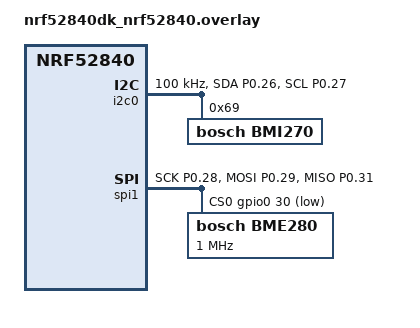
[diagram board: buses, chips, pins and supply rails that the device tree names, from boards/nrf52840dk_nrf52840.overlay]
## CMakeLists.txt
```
# SPDX-License-Identifier: Apache-2.0

cmake_minimum_required(VERSION 3.20.0)

find_package(Zephyr REQUIRED HINTS $ENV{ZEPHYR_BASE})
project(mycaf_sensor)

target_sources(app PRIVATE src/main.c)

# Add include directory for board specific CAF def files
zephyr_include_directories(
    ${CMAKE_CURRENT_SOURCE_DIR}/configuration  # 添加绝对路径
)

add_subdirectory(src/modules)
```

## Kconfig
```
menu "Sensor manager sample"
rsource "src/modules/Kconfig"
endmenu

menu "Zephyr Kernel"
source "Kconfig.zephyr"
endmenu
```

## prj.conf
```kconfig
#
# Copyright (c) 2022 Nordic Semiconductor ASA
#
# SPDX-License-Identifier: LicenseRef-Nordic-5-Clause
#
# CAF & Sensor Manager
CONFIG_CAF=y
CONFIG_CAF_INIT_LOG_SENSOR_EVENTS=n
CONFIG_CAF_SENSOR_DATA_AGGREGATOR=y
CONFIG_CAF_SENSOR_MANAGER=y

CONFIG_APP_EVENT_MANAGER=y
CONFIG_REBOOT=y
CONFIG_HEAP_MEM_POOL_SIZE=16384

CONFIG_ASSERT=y
CONFIG_RESET_ON_FATAL_ERROR=y

CONFIG_GPIO=y
CONFIG_SENSOR=y
CONFIG_SPI=y

# Display & SSD1306
CONFIG_DISPLAY=y
CONFIG_I2C=y
CONFIG_SSD1306=y
CONFIG_DISPLAY_LOG_LEVEL_DBG=y

# Character Framebuffer (如需用 cfb 库)
CONFIG_CHARACTER_FRAMEBUFFER=y
CONFIG_CFB_LOG_LEVEL_DBG=y

# Console/Log
CONFIG_STDOUT_CONSOLE=y
CONFIG_LOG=y
CONFIG_LOG_MODE_DEFERRED=y
```

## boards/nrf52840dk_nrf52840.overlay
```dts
/*
 * Copyright (c) 2022 Nordic Semiconductor ASA
 *
 * SPDX-License-Identifier: LicenseRef-Nordic-5-Clause
 */
/ {

    agg0: agg0 {
        compatible = "caf,aggregator";
        sensor_descr = "bmi270_accel";
        buf_data_length = <240>;
        sample_size = <3>;
        status = "okay";
    };

    agg1: agg1 {
        compatible = "caf,aggregator";
        sensor_descr = "bme280_env";
        buf_data_length = <240>;
        sample_size = <3>;
        status = "okay";
    };

};


&i2c0 {
    compatible = "nordic,nrf-twim";
    status = "okay";
    clock-frequency = <I2C_BITRATE_STANDARD>;
    pinctrl-0 = <&i2c0_default>;
    pinctrl-1 = <&i2c0_sleep>;
    pinctrl-names = "default", "sleep";
    zephyr,concat-buf-size = <257>;
    bmi270: bmi270@69 {
        compatible = "bosch,bmi270";
        reg = <0x69>;
        status = "okay";
        label = "bmi270";
    };
};

&spi1 {
    compatible = "nordic,nrf-spim";
    status = "okay";
    pinctrl-0 = <&spi1_default>;
    pinctrl-1 = <&spi1_sleep>;
    pinctrl-names = "default", "sleep";
    cs-gpios = <&gpio0 30 GPIO_ACTIVE_LOW>;
    bme280: bme280@0 {
        compatible = "bosch,bme280";
        reg = <0>;
        spi-max-frequency = <1000000>;
        label = "bme280";
    };
};

/* STEP 2.2 - Change the pin configuration */
&pinctrl {

    i2c0_default: i2c0_default {
        group1 {
            psels = <NRF_PSEL(TWIM_SDA, 0, 26)>,
                    <NRF_PSEL(TWIM_SCL, 0, 27)>;
            nordic,drive-mode = <NRF_DRIVE_S0D1>; // standard 0, disconnect 1
            bias-pull-up; // internal pull-up is too weak, only for 100kHz or lower

        };
    };

    i2c0_sleep: i2c0_sleep {
        group1 {
            psels = <NRF_PSEL(TWIM_SDA, 0, 26)>,
                    <NRF_PSEL(TWIM_SCL, 0, 27)>;
            low-power-enable;
        };
    };

    spi1_default: spi1_default {
        group1 {
            psels = <NRF_PSEL(SPIM_SCK, 0, 28)>,
                    <NRF_PSEL(SPIM_MOSI, 0, 29)>,
                    <NRF_PSEL(SPIM_MISO, 0, 31)>;
        };
    };

    spi1_sleep: spi1_sleep {
        group1 {
            psels = <NRF_PSEL(SPIM_SCK, 0, 28)>,
                    <NRF_PSEL(SPIM_MOSI, 0, 29)>,
                    <NRF_PSEL(SPIM_MISO, 0, 31)>;
            low-power-enable;
        };
    };
};
```

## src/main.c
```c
/*
 * Copyright (c) 2012-2014 Wind River Systems, Inc.
 *
 * SPDX-License-Identifier: Apache-2.0
 */
#include <zephyr/kernel.h>
#include <app_event_manager.h>

#define MODULE main

#include <caf/events/module_state_event.h>
#include <zephyr/logging/log.h>
#include <zephyr/drivers/sensor.h>

LOG_MODULE_REGISTER(MODULE);


static void bmi270_init(void)
{
    const struct device *const dev = DEVICE_DT_GET(DT_NODELABEL(bmi270));
	struct sensor_value full_scale, sampling_freq, oversampling;

    if (dev == NULL) {
        printk("\nError: no device found.\n");
        return;
    }

    if (!device_is_ready(dev)) {
        printk("\nError: device %s is not ready.\n", dev->name);
        return;
    }   

    	/* Setting scale in G, due to loss of precision if the SI unit m/s^2
	 * is used
	 */
	full_scale.val1 = 2;            /* G */
	full_scale.val2 = 0;
	sampling_freq.val1 = 100;       /* Hz. Performance mode */
	sampling_freq.val2 = 0;
	oversampling.val1 = 1;          /* Normal mode */
	oversampling.val2 = 0;

	sensor_attr_set(dev, SENSOR_CHAN_ACCEL_XYZ, SENSOR_ATTR_FULL_SCALE,
			&full_scale);
	sensor_attr_set(dev, SENSOR_CHAN_ACCEL_XYZ, SENSOR_ATTR_OVERSAMPLING,
			&oversampling);
	/* Set sampling frequency last as this also sets the appropriate
	 * power mode. If already sampling, change to 0.0Hz before changing
	 * other attributes
	 */
	sensor_attr_set(dev, SENSOR_CHAN_ACCEL_XYZ,
			SENSOR_ATTR_SAMPLING_FREQUENCY,
			&sampling_freq);

/* Setting scale in degrees/s to match the sensor scale */
	full_scale.val1 = 500;          /* dps */
	full_scale.val2 = 0;
	sampling_freq.val1 = 100;       /* Hz. Performance mode */
	sampling_freq.val2 = 0;
	oversampling.val1 = 1;          /* Normal mode */
	oversampling.val2 = 0;

	sensor_attr_set(dev, SENSOR_CHAN_GYRO_XYZ, SENSOR_ATTR_FULL_SCALE,
			&full_scale);
	sensor_attr_set(dev, SENSOR_CHAN_GYRO_XYZ, SENSOR_ATTR_OVERSAMPLING,
			&oversampling);
	/* Set sampling frequency last as this also sets the appropriate
	 * power mode. If already sampling, change sampling frequency to
	 * 0.0Hz before changing other attributes
	 */
	sensor_attr_set(dev, SENSOR_CHAN_GYRO_XYZ,
			SENSOR_ATTR_SAMPLING_FREQUENCY,
			&sampling_freq);

    printk("Found device \%s\", getting sensor data...\n", dev->name);
}

int main(void)
{
	int ret;
	bmi270_init();
	ret = app_event_manager_init();
	if (ret) {
		LOG_ERR("Event Manager not initialized, err: %d", ret);
		__ASSERT_NO_MSG(false);
		return 0;
	}

	module_set_state(MODULE_STATE_READY);
	return 0;
}
```
